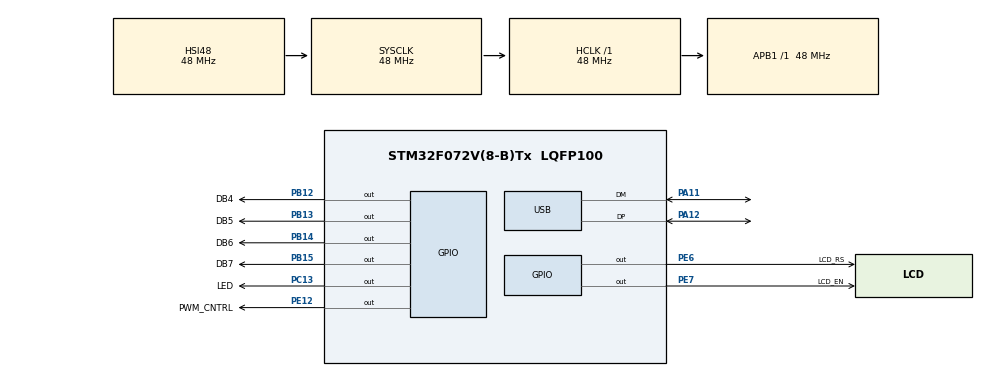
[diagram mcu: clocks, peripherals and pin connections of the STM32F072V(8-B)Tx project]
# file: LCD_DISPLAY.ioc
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Mcu.Family=STM32F0
Mcu.Name=STM32F072V(8-B)Tx
Mcu.Package=LQFP100
NVIC.USB_IRQn=true\:0\:0\:false\:false\:true\:false\:true\:true
PA11.Mode=Device
PA11.Signal=USB_DM
PA12.Mode=Device
PA12.Signal=USB_DP
PB12.GPIO_Label=DB4
PB12.Signal=GPIO_Output
PB13.GPIO_Label=DB5
PB13.Signal=GPIO_Output
PB14.GPIO_Label=DB6
PB14.Signal=GPIO_Output
PB15.GPIO_Label=DB7
PB15.Signal=GPIO_Output
PC13.GPIO_Label=LED
PC13.Signal=GPIO_Output
PE12.GPIO_Label=PWM_CNTRL
PE12.Signal=GPIO_Output
PE6.GPIO_Label=LCD_RS
PE6.Signal=GPIO_Output
PE7.GPIO_Label=LCD_EN
PE7.Signal=GPIO_Output
ProjectManager.HeapSize=0x200
ProjectManager.StackSize=0x400
ProjectManager.TargetToolchain=STM32CubeIDE
RCC.AHBFreq_Value=48000000
RCC.APB1Freq_Value=48000000
RCC.APB1TimFreq_Value=48000000
RCC.HCLKFreq_Value=48000000
RCC.PLLMUL=RCC_PLL_MUL6
RCC.SYSCLKFreq_VALUE=48000000
RCC.SYSCLKSource=RCC_SYSCLKSOURCE_HSI48
USB_DEVICE.CLASS_NAME_FS=CDC
USB_DEVICE.VirtualMode=Cdc
USB_DEVICE.VirtualModeFS=Cdc_FS
VP_USB_DEVICE_VS_USB_DEVICE_CDC_FS.Mode=CDC_FS
board=custom

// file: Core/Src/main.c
/* USER CODE BEGIN Header */
/**
  ******************************************************************************
  * @file           : main.c
  * @brief          : Main program body
  ******************************************************************************
  * @attention
  *
  * Copyright (c) 2023 STMicroelectronics.
  * All rights reserved.
  *
  * This software is licensed under terms that can be found in the LICENSE file
  * in the root directory of this software component.
  * If no LICENSE file comes with this software, it is provided AS-IS.
  *
  ******************************************************************************
  */
/* USER CODE END Header */
#include "main.h"
#include "usb_device.h"

/* USER CODE BEGIN Includes */

#include "usbd_cdc_if.h"
#include "lcd.h"
/* USER CODE END Includes */

void SystemClock_Config(void);
static void MX_GPIO_Init(void);

int main(void)
{

  /* MCU Configuration--------------------------------------------------------*/

  /* Reset of all peripherals, Initializes the Flash interface and the Systick. */
  HAL_Init();

  /* Configure the system clock */
  SystemClock_Config();

  /* Initialize all configured peripherals */
  MX_GPIO_Init();
  MX_USB_DEVICE_Init();
  /* USER CODE BEGIN 2 */
  HAL_GPIO_WritePin(GPIOE, PWM_CNTRL_Pin, GPIO_PIN_SET);
  /* USER CODE END 2 */

  /* Infinite loop */
  /* USER CODE BEGIN WHILE */

  Lcd_PortType ports[] = {
		  D4_GPIO_Port, D5_GPIO_Port, D6_GPIO_Port, D7_GPIO_Port
  };

  Lcd_PinType pins[] = {D4_Pin, D5_Pin, D6_Pin, D7_Pin};

  Lcd_HandleTypeDef lcd = Lcd_create(ports, pins, RS_GPIO_Port, RS_Pin, EN_GPIO_Port, EN_Pin, LCD_4_BIT_MODE);

  Lcd_string(&lcd, "qwertyuiopasdfghABCD");
  Lcd_cursor(&lcd, 1,0);
  Lcd_string(&lcd, "QWERTYUIOPASDFGH");
  Lcd_cursor(&lcd, 2,0);
  Lcd_string(&lcd, "qwertyuiopasdfgh");
  Lcd_cursor(&lcd, 3,0);
  Lcd_string(&lcd, "QWERTYUIOPASDFGH");
  //Lcd_cursor(&lcd, 1,0);
  //Lcd_int(&lcd, -5000000);

 uint8_t delayStarted[] = "Delay started\r\n";
 uint8_t delayended[] = "Delay ended\r\n";
 //	  for(int i=0; i<1000;i++)
 //  {
 //	  delay(1000);
 //  }
  while (1)
  {
    /* USER CODE END WHILE */

    /* USER CODE BEGIN 3 */
//	  CDC_Transmit_FS(delayStarted, sizeof(delayStarted));
//	  HAL_Delay(1000);
	  HAL_Delay(1000);
	  CDC_Transmit_FS(delayended, sizeof(delayended));
	  HAL_GPIO_TogglePin(LED_GPIO_Port, LED_Pin);
  }

  /* USER CODE END 3 */
}

void SystemClock_Config(void)
{
  RCC_OscInitTypeDef RCC_OscInitStruct = {0};
  RCC_ClkInitTypeDef RCC_ClkInitStruct = {0};
  RCC_PeriphCLKInitTypeDef PeriphClkInit = {0};

  /** Initializes the RCC Oscillators according to the specified parameters
  * in the RCC_OscInitTypeDef structure.
  */
  RCC_OscInitStruct.OscillatorType = RCC_OSCILLATORTYPE_HSI48;
  RCC_OscInitStruct.HSI48State = RCC_HSI48_ON;
  RCC_OscInitStruct.PLL.PLLState = RCC_PLL_NONE;
  if (HAL_RCC_OscConfig(&RCC_OscInitStruct) != HAL_OK)
  {
    Error_Handler();
  }

  /** Initializes the CPU, AHB and APB buses clocks
  */
  RCC_ClkInitStruct.ClockType = RCC_CLOCKTYPE_HCLK|RCC_CLOCKTYPE_SYSCLK
                              |RCC_CLOCKTYPE_PCLK1;
  RCC_ClkInitStruct.SYSCLKSource = RCC_SYSCLKSOURCE_HSI48;
  RCC_ClkInitStruct.AHBCLKDivider = RCC_SYSCLK_DIV1;
  RCC_ClkInitStruct.APB1CLKDivider = RCC_HCLK_DIV1;

  if (HAL_RCC_ClockConfig(&RCC_ClkInitStruct, FLASH_LATENCY_1) != HAL_OK)
  {
    Error_Handler();
  }
  PeriphClkInit.PeriphClockSelection = RCC_PERIPHCLK_USB;
  PeriphClkInit.UsbClockSelection = RCC_USBCLKSOURCE_HSI48;

  if (HAL_RCCEx_PeriphCLKConfig(&PeriphClkInit) != HAL_OK)
  {
    Error_Handler();
  }
}

static void MX_GPIO_Init(void)
{
  GPIO_InitTypeDef GPIO_InitStruct = {0};

  /* GPIO Ports Clock Enable */
  __HAL_RCC_GPIOE_CLK_ENABLE();
  __HAL_RCC_GPIOC_CLK_ENABLE();
  __HAL_RCC_GPIOB_CLK_ENABLE();
  __HAL_RCC_GPIOA_CLK_ENABLE();

  /*Configure GPIO pin Output Level */
  HAL_GPIO_WritePin(GPIOE, LCD_RS_Pin|LCD_EN_Pin|PWM_CNTRL_Pin, GPIO_PIN_RESET);

  /*Configure GPIO pin Output Level */
  HAL_GPIO_WritePin(LED_GPIO_Port, LED_Pin, GPIO_PIN_RESET);

  /*Configure GPIO pin Output Level */
  HAL_GPIO_WritePin(GPIOB, DB4_Pin|DB5_Pin|DB6_Pin|DB7_Pin, GPIO_PIN_RESET);

  /*Configure GPIO pins : LCD_RS_Pin LCD_EN_Pin PWM_CNTRL_Pin */
  GPIO_InitStruct.Pin = LCD_RS_Pin|LCD_EN_Pin|PWM_CNTRL_Pin;
  GPIO_InitStruct.Mode = GPIO_MODE_OUTPUT_PP;
  GPIO_InitStruct.Pull = GPIO_NOPULL;
  GPIO_InitStruct.Speed = GPIO_SPEED_FREQ_LOW;
  HAL_GPIO_Init(GPIOE, &GPIO_InitStruct);

  /*Configure GPIO pin : LED_Pin */
  GPIO_InitStruct.Pin = LED_Pin;
  GPIO_InitStruct.Mode = GPIO_MODE_OUTPUT_PP;
  GPIO_InitStruct.Pull = GPIO_NOPULL;
  GPIO_InitStruct.Speed = GPIO_SPEED_FREQ_LOW;
  HAL_GPIO_Init(LED_GPIO_Port, &GPIO_InitStruct);

  /*Configure GPIO pins : DB4_Pin DB5_Pin DB6_Pin DB7_Pin */
  GPIO_InitStruct.Pin = DB4_Pin|DB5_Pin|DB6_Pin|DB7_Pin;
  GPIO_InitStruct.Mode = GPIO_MODE_OUTPUT_PP;
  GPIO_InitStruct.Pull = GPIO_NOPULL;
  GPIO_InitStruct.Speed = GPIO_SPEED_FREQ_LOW;
  HAL_GPIO_Init(GPIOB, &GPIO_InitStruct);

}

void Error_Handler(void)
{
  __disable_irq();
  while (1)
  {
  }
}
